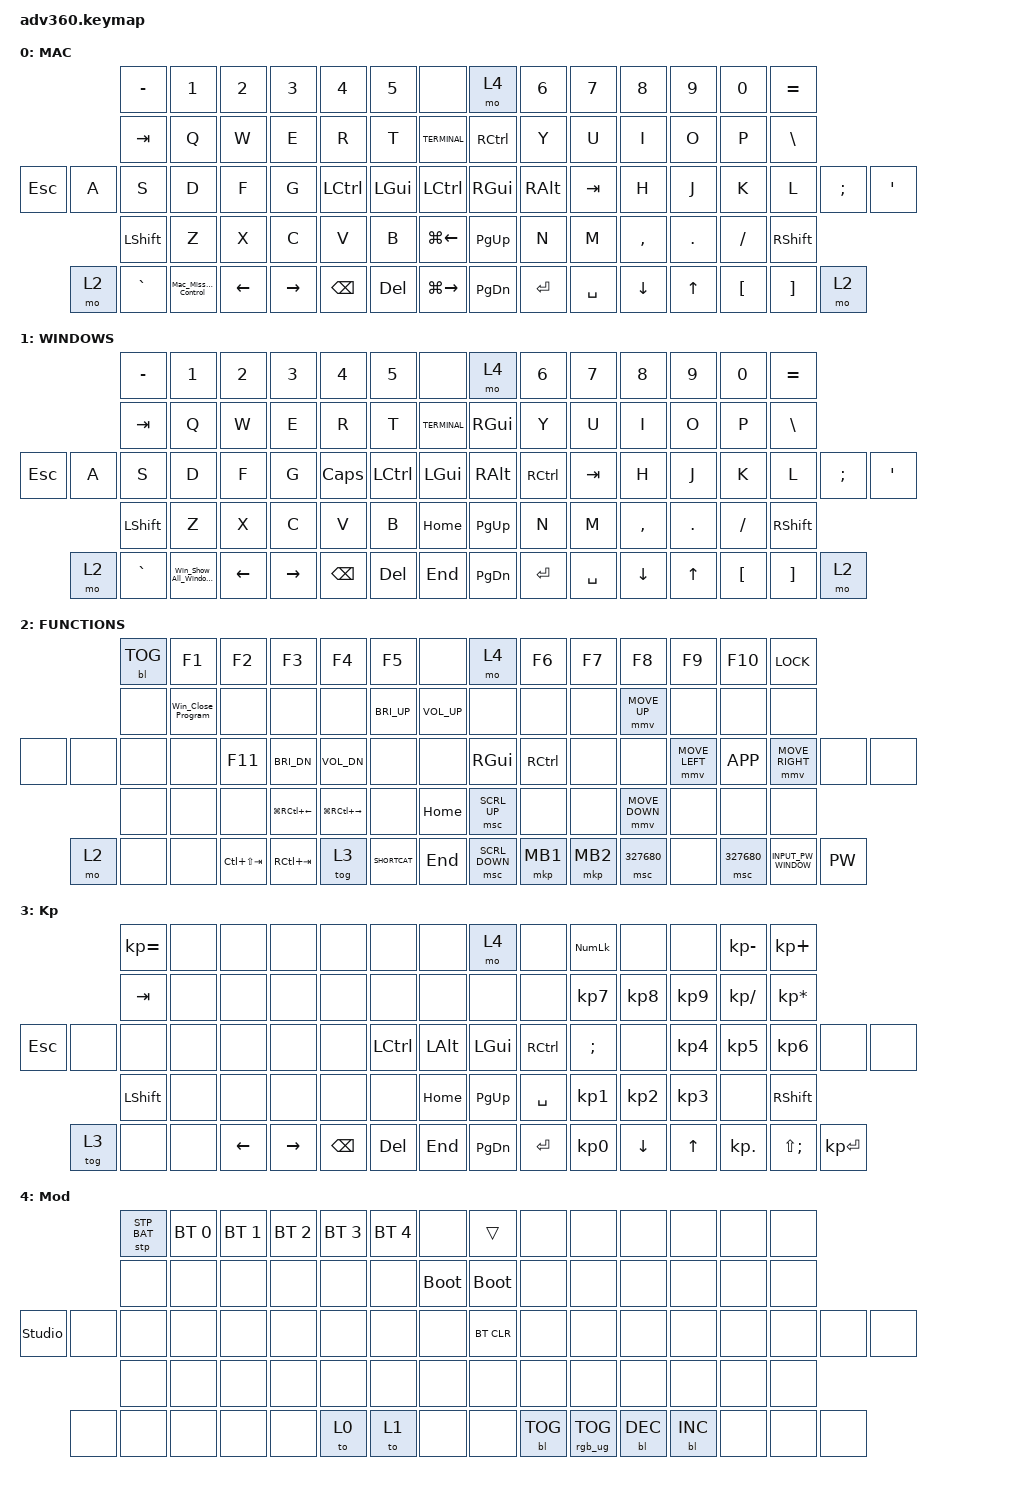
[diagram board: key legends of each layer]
#include <behaviors.dtsi>
#include <dt-bindings/zmk/keys.h>
#include <dt-bindings/zmk/bt.h>
#include <dt-bindings/zmk/rgb.h>
#include <dt-bindings/zmk/stp.h>
#include <dt-bindings/zmk/backlight.h>
#include <dt-bindings/zmk/pointing.h>

/ {
    behaviors {
      #include "macros.dtsi"
      #include "version.dtsi"

      hm: homerow_mods {
          compatible = "zmk,behavior-hold-tap";
          label = "HOMEROW_MODS";
          #binding-cells = <2>;
          tapping-term-ms = <200>;
          quick_tap_ms = <175>;
          flavor = "tap-preferred";
          bindings = <&kp>, <&kp>;
      };
    };

  keymap {
    compatible = "zmk,keymap";

    mac {
      display-name = "MAC";
      bindings = <
        &kp MINUS &kp N1 &kp N2 &kp N3 &kp N4 &kp N5 &none &mo 4 &kp N6 &kp N7 &kp N8 &kp N9 &kp N0 &kp EQUAL
        &kp TAB &kp Q &kp W &kp E &kp R &kp T &TERMINAL &kp RCTRL &kp Y &kp U &kp I &kp O &kp P &kp BSLH
        &kp ESC &kp A &kp S &kp D &kp F &kp G &kp LCTRL &kp LGUI &kp LCTRL &kp RGUI &kp RALT &kp TAB &kp H &kp J &kp K &kp L &kp SEMI &kp SQT
        &kp LSHFT &kp Z &kp X &kp C &kp V &kp B &kp LG(LEFT) &kp PG_UP &kp N &kp M &kp COMMA &kp DOT &kp FSLH &kp RSHFT
        &mo 2 &kp GRAVE &Mac_Mission_Control &kp LEFT &kp RIGHT &kp BSPC &kp DEL &kp LG(RIGHT) &kp PG_DN &kp ENTER &kp SPACE &kp DOWN &kp UP &kp LBKT &kp RBKT &mo 2
      >;
    };
    windows {
      display-name = "WINDOWS";
      bindings = <
        &kp MINUS &kp N1 &kp N2 &kp N3 &kp N4 &kp N5 &none &mo 4 &kp N6 &kp N7 &kp N8 &kp N9 &kp N0 &kp EQUAL
        &kp TAB &kp Q &kp W &kp E &kp R &kp T &TERMINAL &kp RGUI &kp Y &kp U &kp I &kp O &kp P &kp BSLH
        &kp ESC &kp A &kp S &kp D &kp F &kp G &kp CAPS &kp LCTRL &kp LGUI &kp RALT &kp RCTRL &kp TAB &kp H &kp J &kp K &kp L &kp SEMI &kp SQT
        &kp LSHFT &kp Z &kp X &kp C &kp V &kp B &kp HOME &kp PG_UP &kp N &kp M &kp COMMA &kp DOT &kp FSLH &kp RSHFT
        &mo 2 &kp GRAVE &Win_Show_All_Windows &kp LEFT &kp RIGHT &kp BSPC &kp DEL &kp END &kp PG_DN &kp ENTER &kp SPACE &kp DOWN &kp UP &kp LBKT &kp RBKT &mo 2
      >;
    };
    functions {
      display-name = "FUNCTIONS";
      bindings = <
        &bl BL_TOG &kp F1 &kp F2 &kp F3 &kp F4 &kp F5 &none &mo 4 &kp F6 &kp F7 &kp F8 &kp F9 &kp F10 &kp K_LOCK
        &none &Win_Close_Program &none &none &none &kp C_BRI_UP &kp C_VOL_UP &none &none &none &mmv MOVE_UP &none &none &none
        &none &none &none &none &kp F11 &kp C_BRI_DN &kp C_VOL_DN &none &none &kp RGUI &kp RCTRL &none &none &mmv MOVE_LEFT &kp K_APP &mmv MOVE_RIGHT &none &none
        &none &none &none &kp LG(RC(LEFT)) &kp LG(RC(RIGHT)) &none &kp HOME &msc SCRL_UP &none &none &mmv MOVE_DOWN &none &none &none
        &mo 2 &none &none &kp LC(LS(TAB)) &kp RC(TAB) &tog 3 &SHORTCAT &kp END &msc SCRL_DOWN &mkp MB1 &mkp MB2 &msc 327680 &none &msc 327680 &INPUT_PW_WINDOW &PW
      >;
    };
    keypad {
      display-name = "Kp";
      bindings = <
        &kp KP_EQUAL &none &none &none &none &none &none &mo 4 &none &kp KP_NUM &none &none &kp KP_MINUS &kp KP_PLUS
        &kp TAB &none &none &none &none &none &none &none &none &kp KP_N7 &kp KP_N8 &kp KP_N9 &kp KP_DIVIDE &kp KP_MULTIPLY
        &kp ESC &none &none &none &none &none &none &kp LCTRL &kp LALT &kp LGUI &kp RCTRL &kp SEMI &none &kp KP_N4 &kp KP_N5 &kp KP_N6 &none &none
        &kp LSHFT &none &none &none &none &none &kp HOME &kp PG_UP &kp SPACE &kp KP_N1 &kp KP_N2 &kp KP_N3 &none &kp RSHFT
        &tog 3 &none &none &kp LEFT &kp RIGHT &kp BSPC &kp DEL &kp END &kp PG_DN &kp ENTER &kp KP_N0 &kp DOWN &kp UP &kp KP_DOT &kp LS(SEMI) &kp KP_ENTER
      >;
    };
    mod {
      display-name = "Mod";
      bindings = <
        &stp STP_BAT &bt BT_SEL 0 &bt BT_SEL 1 &bt BT_SEL 2 &bt BT_SEL 3 &bt BT_SEL 4 &none &trans &none &none &none &none &none &none
        &none &none &none &none &none &none &bootloader &bootloader &none &none &none &none &none &none
        &studio_unlock &none &none &none &none &none &none &none &none &bt BT_CLR &none &none &none &none &none &none &none &none
        &none &none &none &none &none &none &none &none &none &none &none &none &none &none
        &none &none &none &none &none &to 0 &to 1 &none &none &bl BL_TOG &rgb_ug RGB_TOG &bl BL_DEC &bl BL_INC &none &none &none
      >;
    };
    extra1 {
      display-name = "Red";
      status = "reserved";
    };

    extra2 {
      display-name = "Purple";
      status = "reserved";
    };

    extra3 {
      display-name = "Cyan";
      status = "reserved";
    };
  };
};
